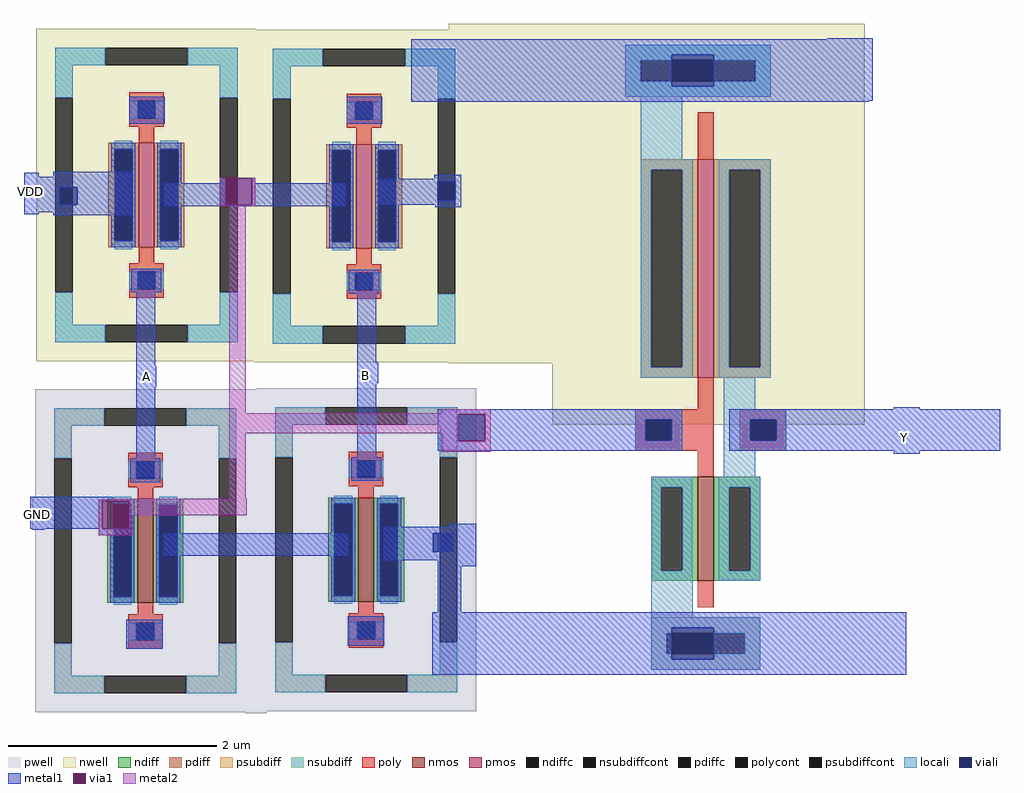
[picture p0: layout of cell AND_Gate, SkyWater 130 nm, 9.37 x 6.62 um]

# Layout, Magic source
magic
tech sky130A
<< nwell >>
rect 583 663 920 989
<< pwell >>
rect 183 503 195 534
rect 593 470 608 508
<< metal1 >>
rect 175 806 189 846
rect 284 640 302 660
rect 497 644 515 664
rect 1010 576 1035 621
rect 183 503 195 534
rect 593 503 608 508
rect 572 470 608 503
rect 572 377 595 470
<< via1 >>
rect 592 588 618 614
<< metal2 >>
rect 576 615 623 619
rect 373 614 623 615
rect 373 596 592 614
rect 576 588 592 596
rect 618 588 623 614
rect 576 578 623 588
use INV  INV_0
transform 1 0 832 0 1 754
box -285 -390 280 235
use NAND2_Gate  NAND2_Gate_0
transform 1 0 862 0 1 1794
box -682 -1467 -253 -810
<< labels >>
rlabel metal1 1020 592 1020 592 1 Y
rlabel metal1 181 828 181 828 1 VDD
rlabel metal1 188 518 188 518 1 GND
rlabel metal1 293 650 293 650 1 A
rlabel metal1 503 651 503 651 1 B
<< end >>

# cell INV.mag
magic
tech sky130A
<< nwell >>
rect -150 -150 150 235
<< nmos >>
rect -10 -300 5 -200
<< pmos >>
rect -10 -105 5 105
<< ndiff >>
rect -55 -210 -10 -200
rect -55 -290 -45 -210
rect -25 -290 -10 -210
rect -55 -300 -10 -290
rect 5 -210 50 -200
rect 5 -290 20 -210
rect 40 -290 50 -210
rect 5 -300 50 -290
<< pdiff >>
rect -65 95 -10 105
rect -65 -95 -55 95
rect -25 -95 -10 95
rect -65 -105 -10 -95
rect 5 95 60 105
rect 5 -95 20 95
rect 50 -95 60 95
rect 5 -105 60 -95
<< ndiffc >>
rect -45 -290 -25 -210
rect 20 -290 40 -210
<< pdiffc >>
rect -55 -95 -25 95
rect 20 -95 50 95
<< psubdiff >>
rect -55 -350 50 -335
rect -55 -370 -40 -350
rect 35 -370 50 -350
rect -55 -385 50 -370
<< nsubdiff >>
rect -80 200 60 215
rect -80 180 -65 200
rect 45 180 60 200
rect -80 165 60 180
<< psubdiffcont >>
rect -40 -370 35 -350
<< nsubdiffcont >>
rect -65 180 45 200
<< poly >>
rect -10 105 5 150
rect -10 -135 5 -105
rect -70 -145 5 -135
rect -70 -165 -60 -145
rect -35 -165 5 -145
rect -70 -175 5 -165
rect 30 -145 75 -135
rect 30 -165 40 -145
rect 65 -165 75 -145
rect 30 -175 75 -165
rect -10 -200 5 -175
rect -10 -325 5 -300
<< polycont >>
rect -60 -165 -35 -145
rect 40 -165 65 -145
<< locali >>
rect -80 205 60 215
rect -80 200 -35 205
rect 5 200 60 205
rect -80 180 -65 200
rect 45 180 60 200
rect -80 175 -35 180
rect 5 175 60 180
rect -80 165 60 175
rect -65 105 -25 165
rect -65 95 -15 105
rect -65 -95 -55 95
rect -25 -95 -15 95
rect -65 -105 -15 -95
rect 10 95 60 105
rect 10 -95 20 95
rect 50 -95 60 95
rect 10 -105 60 -95
rect 15 -135 45 -105
rect -70 -145 -25 -135
rect -70 -165 -60 -145
rect -35 -165 -25 -145
rect -70 -175 -25 -165
rect 15 -145 75 -135
rect 15 -165 40 -145
rect 65 -165 75 -145
rect 15 -175 75 -165
rect 15 -200 45 -175
rect -55 -210 -15 -200
rect -55 -290 -45 -210
rect -25 -290 -15 -210
rect -55 -335 -15 -290
rect 10 -210 50 -200
rect 10 -290 20 -210
rect 40 -290 50 -210
rect 10 -300 50 -290
rect -55 -345 50 -335
rect -55 -350 -35 -345
rect 5 -350 50 -345
rect -55 -370 -40 -350
rect 35 -370 50 -350
rect -55 -375 -35 -370
rect 5 -375 50 -370
rect -55 -385 50 -375
<< viali >>
rect -35 200 5 205
rect -35 180 5 200
rect -35 175 5 180
rect -60 -165 -35 -145
rect 40 -165 65 -145
rect -35 -350 5 -345
rect -35 -370 5 -350
rect -35 -375 5 -370
<< metal1 >>
rect 114 220 158 221
rect -285 205 158 220
rect -285 175 -35 205
rect 5 175 158 205
rect -285 161 158 175
rect -285 160 154 161
rect -260 -145 -25 -135
rect -260 -165 -60 -145
rect -35 -165 -25 -145
rect -260 -175 -25 -165
rect 20 -145 280 -135
rect 20 -165 40 -145
rect 65 -165 280 -145
rect 20 -175 280 -165
rect -265 -345 190 -330
rect -265 -375 -35 -345
rect 5 -375 190 -345
rect -265 -390 190 -375
<< labels >>
rlabel metal1 155 196 155 196 1 vdd
rlabel metal1 250 -165 265 -145 1 out
rlabel metal1 175 -360 175 -360 1 vss
rlabel metal1 -240 -165 -225 -145 1 in
<< end >>

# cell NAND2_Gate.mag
magic
tech sky130A
magscale 1 2
<< nwell >>
rect -586 -1908 -534 -1900
rect -694 -1958 -534 -1908
rect -584 -1962 -534 -1958
<< pwell >>
rect -948 -2934 -908 -2312
rect -558 -2652 -506 -2570
<< viali >>
rect -1306 -1958 -1272 -1924
rect -580 -1950 -546 -1912
rect -588 -2624 -550 -2588
<< metal1 >>
rect -1172 -1802 -1104 -1750
rect -754 -1802 -686 -1750
rect -1318 -1904 -1168 -1894
rect -1364 -1924 -1168 -1904
rect -998 -1916 -988 -1906
rect -1364 -1958 -1306 -1924
rect -1272 -1958 -1168 -1924
rect -1364 -1972 -1168 -1958
rect -1106 -1958 -988 -1916
rect -936 -1916 -930 -1906
rect -586 -1908 -534 -1900
rect -694 -1912 -534 -1908
rect -936 -1958 -756 -1916
rect -694 -1950 -580 -1912
rect -546 -1950 -534 -1912
rect -694 -1958 -534 -1950
rect -1106 -1960 -756 -1958
rect -584 -1962 -534 -1958
rect -1318 -1978 -1168 -1972
rect -1158 -2480 -1122 -2088
rect -734 -2478 -698 -2086
rect -1362 -2524 -1204 -2518
rect -1362 -2526 -1166 -2524
rect -1362 -2580 -1224 -2526
rect -1172 -2580 -1166 -2526
rect -558 -2576 -506 -2570
rect -1230 -2592 -1166 -2580
rect -684 -2588 -506 -2576
rect -1106 -2632 -750 -2588
rect -684 -2624 -588 -2588
rect -550 -2624 -506 -2588
rect -684 -2640 -506 -2624
rect -558 -2652 -506 -2640
rect -1178 -2810 -1108 -2754
rect -752 -2804 -682 -2748
<< via1 >>
rect -988 -1958 -936 -1906
rect -1224 -2580 -1172 -2526
<< metal2 >>
rect -998 -1958 -988 -1906
rect -936 -1958 -930 -1906
rect -998 -1960 -930 -1958
rect -980 -2522 -948 -1960
rect -1206 -2524 -946 -2522
rect -1230 -2526 -946 -2524
rect -1230 -2580 -1224 -2526
rect -1172 -2554 -946 -2526
rect -1172 -2580 -1166 -2554
rect -1230 -2592 -1166 -2580
use sky130_fd_pr__nfet_01v8_648S5X  XM1
transform 1 0 -1141 0 1 -2622
box -211 -310 211 310
use sky130_fd_pr__nfet_01v8_648S5X  XM2
transform 1 0 -717 0 1 -2620
box -211 -310 211 310
use sky130_fd_pr__pfet_01v8_XGS3BL  XM3
transform 1 0 -1139 0 1 -1939
box -211 -319 211 319
use sky130_fd_pr__pfet_01v8_XGS3BL  XM4
transform 1 0 -721 0 1 -1941
box -211 -319 211 319
<< labels >>
rlabel metal1 -1338 -2556 -1338 -2556 1 Y
rlabel metal1 -522 -2608 -522 -2608 1 GND
rlabel metal1 -1356 -1934 -1356 -1934 1 VDD
rlabel metal1 -722 -2284 -722 -2284 1 B
rlabel metal1 -1146 -2290 -1146 -2290 1 A
<< end >>

# cell sky130_fd_pr__nfet_01v8_648S5X: kit device sky130_fd_pr__nfet_01v8, w 1.0 l 0.15 m 1 nf 1 diffcov 100 polycov 100 guard 1 glc 1 grc 1 gtc 1 gbc 1 tbcov 100 rlcov 100 topc 1 botc 1 poverlap 0 doverlap 1 lmin 0.15 wmin 0.42 compatible {sky130_fd_pr__nfet_01v8 sky130_fd_pr__nfet_01v8_lvt sky130_fd_bs_flash__special_sonosfet_star sky130_fd_pr__nfet_g5v0d10v5 sky130_fd_pr__nfet_05v0_nvt sky130_fd_pr__nfet_03v3_nvt} full_metal 1 viasrc 100 viadrn 100 viagate 100 viagb 0 viagr 0 viagl 0 viagt 0

# cell sky130_fd_pr__pfet_01v8_XGS3BL: kit device sky130_fd_pr__pfet_01v8, w 1.0 l 0.15 m 1 nf 1 diffcov 100 polycov 100 guard 1 glc 1 grc 1 gtc 1 gbc 1 tbcov 100 rlcov 100 topc 1 botc 1 poverlap 0 doverlap 1 lmin 0.15 wmin 0.42 compatible {sky130_fd_pr__pfet_01v8 sky130_fd_pr__pfet_01v8_lvt sky130_fd_pr__pfet_01v8_hvt sky130_fd_pr__pfet_g5v0d10v5} full_metal 1 viasrc 100 viadrn 100 viagate 100 viagb 0 viagr 0 viagl 0 viagt 0
